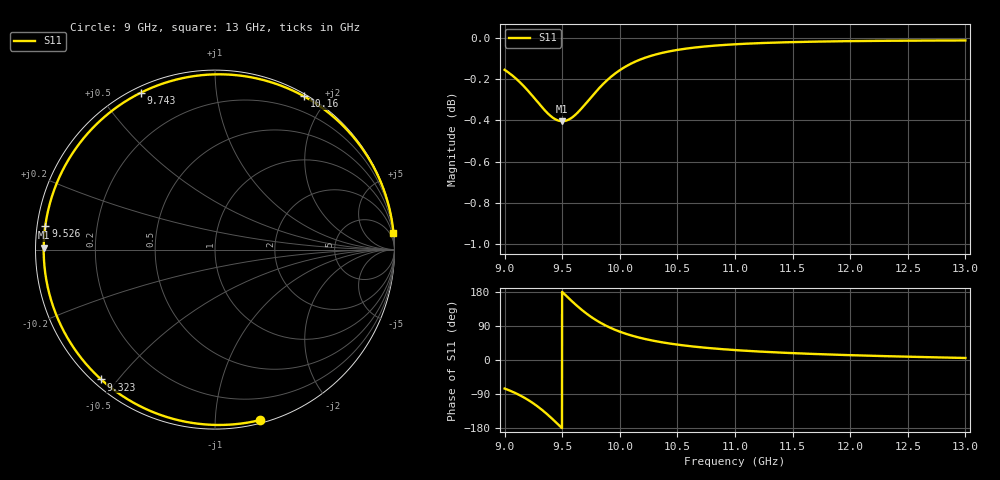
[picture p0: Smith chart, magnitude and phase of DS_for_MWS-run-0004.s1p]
! TOUCHSTONE file generated by CST DESIGN STUDIO
! Date and time: Tue Feb  4 18:26:23 2025
! Project name: C:\Work\MatlabApps\UnitCellOptimizationMatlab\CST\unitcell.cst
! Tree item: Tasks\Sweep1\SPara1\S-Parameters
! Header version: 2024
! Port assignment regex: !\s*Touchstone port\s*([0-9]+)\s*=\s*(CST MWS port|CST DES external port|CST DES block port)\s*(.+)\s* \(\"(.*)\"\)(\s*mode\s*([0-9]+))?.*
! Touchstone port assignment:
! Touchstone port 1 = CST DES external port 1 ("")
# GHz S MA R 50
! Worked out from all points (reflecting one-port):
!   4001 points, 9 GHz to 13 GHz, reference 50 ohm
!   lowest |S11| = -0.4 dB at 9.501 GHz (marker M1), VSWR 43.01, Z = 1.16 + j0.294 ohm
!   phase of S11 starts at -75 deg and turns -279 deg over the sweep
!   S11 on the Smith chart (normalised r, x): 9 GHz: 0.02, -1.30; 9.323 GHz: 0.02, -0.45; 9.526 GHz: 0.02, +0.07; 9.743 GHz: 0.02, +0.63; 10.16 GHz: 0.03, +1.74; 13 GHz: 0, +21
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9  0.9824 -75.3
9.085  0.9783 -86.0
9.186  0.9722 -102.1
9.257  0.9671 -116.1
9.323  0.9622 -131.2
9.37  0.959 -143.3
9.42  0.9564 -157.0
9.461  0.955 -168.9
9.5  0.9546 179.6
9.501  0.9546 179.3
9.526  0.9547 171.9
9.579  0.9563 156.6
9.639  0.9595 140.2
9.69  0.963 127.4
9.743  0.9669 115.4
9.796  0.9707 104.8
9.854  0.9746 94.6
9.926  0.9787 83.9
10  0.9822 74.8
10.158  0.9876 59.9
10.313  0.9909 49.6
10.5  0.9934 40.6
10.722  0.9952 33.0
11  0.9966 26.2
11.5  0.9978 18.1
12  0.9983 12.8
12.5  0.9986 8.7
13  0.9987 5.3
